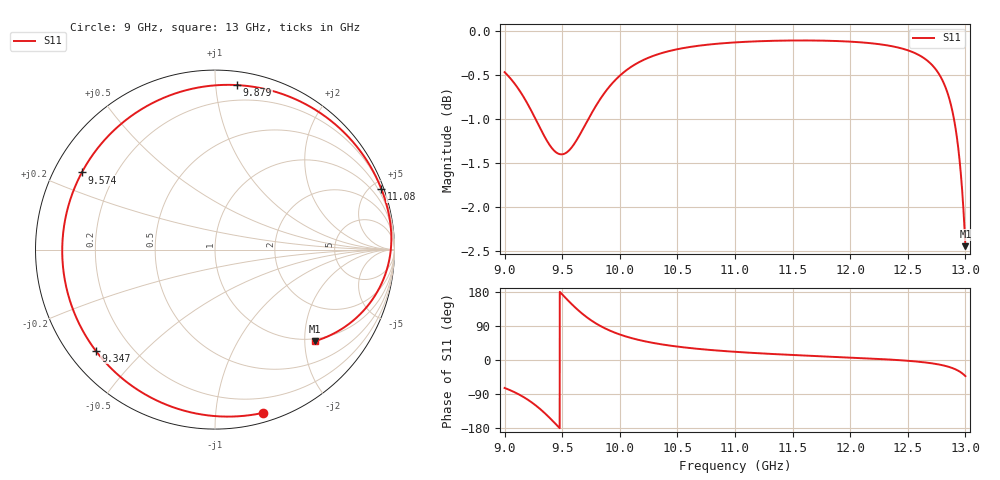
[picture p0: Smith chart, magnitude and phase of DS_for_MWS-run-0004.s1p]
! TOUCHSTONE file generated by CST DESIGN STUDIO
! Date and time: Tue Feb  4 18:40:41 2025
! Project name: C:\Work\MatlabApps\UnitCellOptimizationMatlab\CST\unitcell.cst
! Tree item: Tasks\Sweep1\SPara1\S-Parameters
! Header version: 2024
! Port assignment regex: !\s*Touchstone port\s*([0-9]+)\s*=\s*(CST MWS port|CST DES external port|CST DES block port)\s*(.+)\s* \(\"(.*)\"\)(\s*mode\s*([0-9]+))?.*
! Touchstone port assignment:
! Touchstone port 1 = CST DES external port 1 ("")
# GHz S MA R 50
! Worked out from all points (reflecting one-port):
!   4001 points, 9 GHz to 13 GHz, reference 50 ohm
!   lowest |S11| = -2.4 dB at 13 GHz (marker M1), VSWR 7.14, Z = 47 - j111 ohm
!   phase of S11 starts at -74 deg and turns -329 deg over the sweep
!   S11 on the Smith chart (normalised r, x): 9 GHz: 0.07, -1.33; 9.347 GHz: 0.08, -0.36; 9.574 GHz: 0.08, +0.27; 9.879 GHz: 0.09, +1.14; 11.08 GHz: 0.23, +5.67; 13 GHz: 0.94, -2.23
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9  0.948 -73.8
9.112  0.929 -88.9
9.198  0.9097 -104.1
9.275  0.8897 -121.0
9.347  0.8711 -139.8
9.427  0.8556 -163.7
9.464  0.8519 -175.4
9.5  0.8511 173.0
9.574  0.8575 149.9
9.643  0.871 130.2
9.713  0.8879 112.9
9.789  0.9061 97.3
9.879  0.9247 82.4
10  0.9436 67.3
10.102  0.955 57.8
10.216  0.964 49.4
10.347  0.9713 42.0
10.5  0.977 35.4
10.722  0.9822 28.2
11  0.9858 21.6
11.083  0.9865 20.0
11.5  0.9882 13.2
12  0.9868 6.5
12.5  0.9756 -2.1
12.697  0.9589 -8.2
12.842  0.9237 -16.9
12.927  0.8695 -26.6
13  0.7544 -42.6
